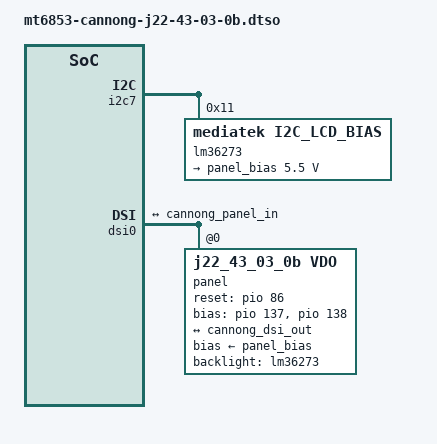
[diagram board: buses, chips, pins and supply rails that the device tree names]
/dts-v1/;
/plugin/;

&i2c7 {
	#address-cells = <1>;
	#size-cells = <0>;
	status = "okay";

	lm36273: backlight@11 {
		compatible = "mediatek,i2c_lcd_bias", "ti,lm36273";
		reg = <0x11>;

		panel_bias: bias {
			regulator-name = "panel-bias";
			regulator-min-microvolt = <5500000>;
			regulator-max-microvolt = <5500000>;
		};
	};
};

&dsi0 {
	status = "okay";
	#address-cells = <1>;
	#size-cells = <0>;

	panel@0 {
		compatible = "j22_43_03_0b,vdo";
		reg = <0>;
		reset-gpios = <&pio 86 0>;
		bias-gpios = <&pio 137 0>, <&pio 138 0>;
		bias-supply = <&panel_bias>;
		backlight = <&lm36273>;
		status = "okay";

		port {
			cannong_panel_in: endpoint {
				remote-endpoint = <&cannong_dsi_out>;
			};
		};
	};

	ports {
		port {
			cannong_dsi_out: endpoint {
				remote-endpoint = <&cannong_panel_in>;
			};
		};
	};
};
